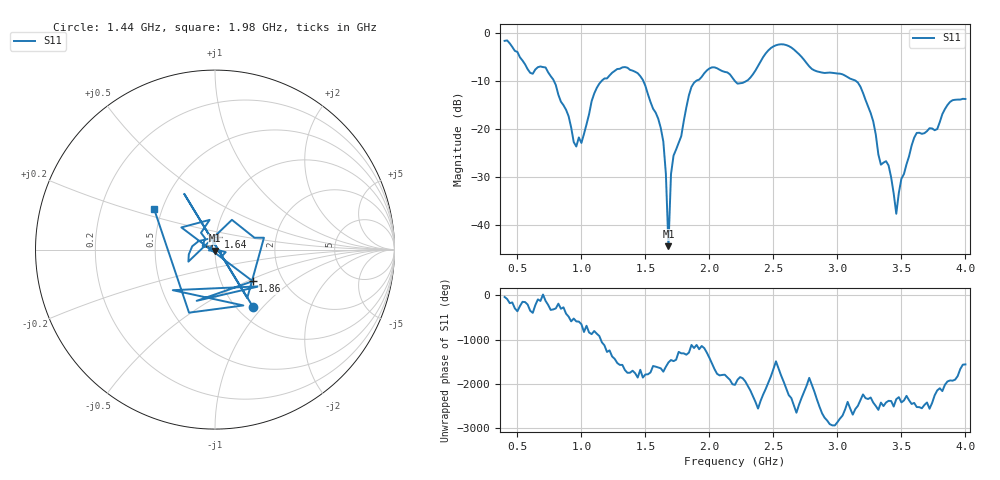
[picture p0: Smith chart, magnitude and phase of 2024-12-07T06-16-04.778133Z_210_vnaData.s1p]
!Created with skrf (http://scikit-rf.org).
# Hz S RI R 50.0
!freq ReS11 ImS11
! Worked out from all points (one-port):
!   181 points, 400 MHz to 4 GHz, reference 50 ohm
!   lowest |S11| = -44.3 dB at 1.68 GHz (marker M1), VSWR 1.01, Z = 50.1 - j0.589 ohm
!   |S11| at or under -10 dB: 785.2 MHz to 1.158 GHz (372.7 MHz wide, 38.4 % of centre); 1.483 GHz to 1.896 GHz (412.8 MHz wide, 24.4 % of centre); 3.144 GHz to end of sweep (the widest 3 of 4)
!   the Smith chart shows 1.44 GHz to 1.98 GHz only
!   S11 on the Smith chart (normalised r, x): 1.44 GHz: 1.18, -0.88; 1.64 GHz: 1.02, +0.15; 1.86 GHz: 1.41, -0.54; 1.98 GHz: 0.45, +0.24
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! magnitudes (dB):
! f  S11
! 400 MHz  -1.7
! 600 MHz  -8.3
! 720 MHz  -7.2
! 860 MHz  -15.1
! 960 MHz  -23.6
! 1 GHz  -22.9
! 1.12 GHz  -11.4
! 1.3 GHz  -7.5
! 1.44 GHz  -8.4
! 1.64 GHz  -22.6
! 1.66 GHz  -29.3
! 1.68 GHz  -44.3
! 1.7 GHz  -29.4
! 1.76 GHz  -22.9
! 1.86 GHz  -11.2
! 1.98 GHz  -7.8
! 2.2 GHz  -10.1
! 2.5 GHz  -2.8
! 2.66 GHz  -3.5
! 3.1 GHz  -9.5
! 3.26 GHz  -16.7
! 3.34 GHz  -27.4
! 3.4 GHz  -27.6
! 3.46 GHz  -37.6
! 3.5 GHz  -30.3
! 3.56 GHz  -25.6
! 3.62 GHz  -20.8
! 4 GHz  -13.8
